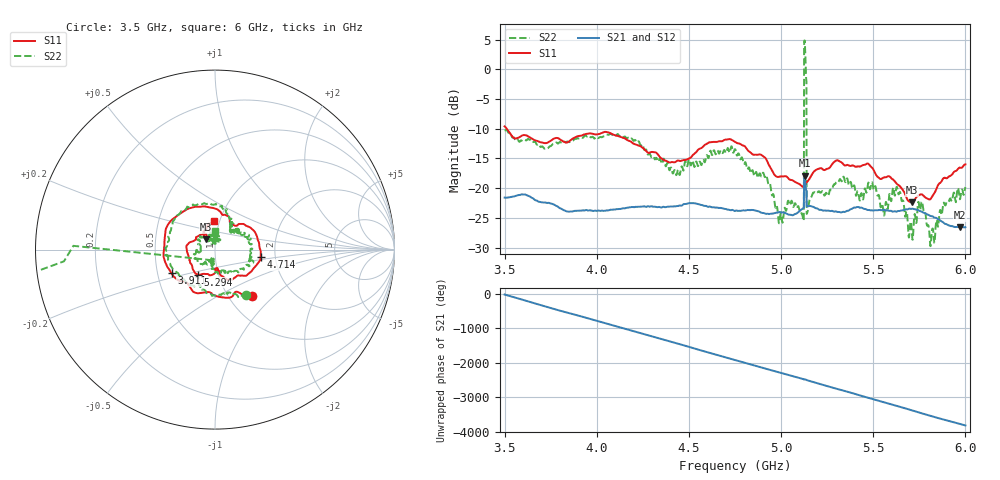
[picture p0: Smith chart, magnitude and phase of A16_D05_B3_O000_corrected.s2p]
! Created with skrf 1.9.0 (http://scikit-rf.org).
# Hz S RI R 50.0
!freq ReS11 ImS11 ReS21 ImS21 ReS12 ImS12 ReS22 ImS22
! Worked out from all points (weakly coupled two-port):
!   1601 points, 3.5 GHz to 6 GHz, reference 50 ohm
!   highest |S21| = -17.91 dB at 5.128 GHz (marker M1); lowest = -26.6 dB at 5.97 GHz (marker M2)
!   lowest |S11| = -22.4 dB at 5.709 GHz (marker M3), VSWR 1.16, Z = 45 + j5.27 ohm
!   |S11| at or under -10 dB: 3.512 GHz to end of sweep
!   |S22| runs from -29.8 to 4.9 dB; largest |S21 - S12| = 0.00094
!   S11 on the Smith chart (normalised r, x): 3.5 GHz: 1.27, -0.74; 3.911 GHz: 0.59, -0.17; 4.714 GHz: 1.67, -0.15; 5.294 GHz: 0.80, -0.23; 6 GHz: 0.94, +0.30
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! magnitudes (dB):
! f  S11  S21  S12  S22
! 3.5 GHz  -9.6  -21.6  -21.6  -10.3
! 3.911 GHz  -11.2  -23.8  -23.7  -11.6
! 3.917 GHz  -11.2  -23.8  -23.8  -11.4
! 4.334 GHz  -14.5  -23.2  -23.1  -15.6
! 4.441 GHz  -15.4  -23.0  -23.0  -16.9
! 4.714 GHz  -11.8  -23.6  -23.7  -13.5
! 4.75 GHz  -12.2  -23.9  -23.8  -13.4
! 4.914 GHz  -14.9  -24.3  -24.3  -18.1
! 4.997 GHz  -18.0  -24.0  -24.0  -24.3
! 5.111 GHz  -19.6  -23.6  -23.6  -24.2
! 5.128 GHz  -19.4  -17.9  -17.9  4.9
! 5.138 GHz  -19.0  -20.4  -20.3  -2.1
! 5.152 GHz  -18.5  -23.0  -23.0  -22.5
! 5.167 GHz  -17.7  -23.1  -23.1  -21.3
! 5.294 GHz  -15.5  -23.9  -23.9  -19.3
! 5.584 GHz  -18.0  -23.8  -23.8  -21.7
! 5.636 GHz  -19.5  -23.8  -23.8  -20.9
! 5.709 GHz  -22.4  -23.5  -23.4  -27.4
! 5.756 GHz  -21.1  -23.9  -23.8  -23.5
! 5.822 GHz  -21.3  -24.7  -24.7  -26.8
! 5.97 GHz  -16.5  -26.6  -26.6  -21.9
! 6 GHz  -16.0  -26.6  -26.6  -19.8
